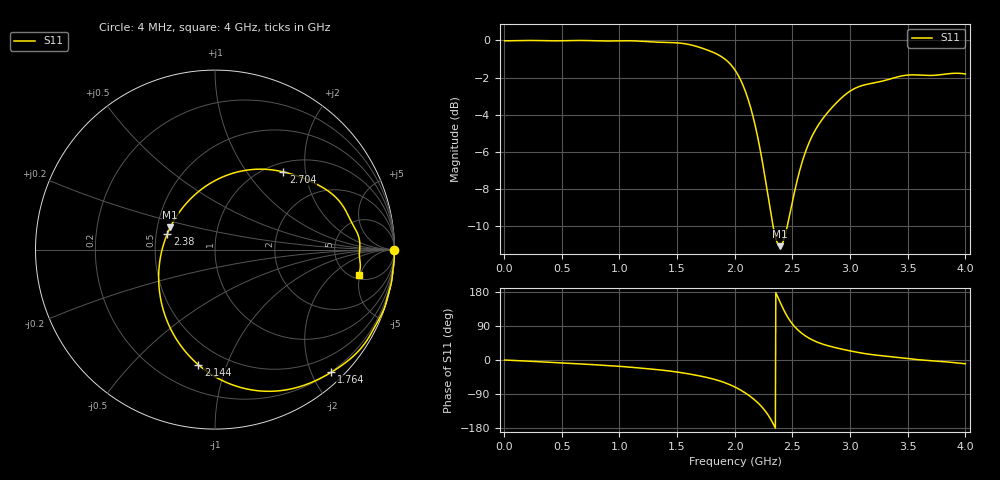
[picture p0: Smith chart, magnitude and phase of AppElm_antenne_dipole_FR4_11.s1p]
! TOUCHSTONE file generated by CST MICROWAVE STUDIO
! Date and time: Thu May 12 15:28:17 2022
! Project name: AppElm_antenne_dipole_FR4.cst
! Parameters = {L=38.8; e=0.035; f=2.45e+09; h=1.6; i=0.8; l1=5; lambda=122.449; ls=30; wl=1.7; ws=80}
! Header version: 2018
! Port assignment regex: !\s*Touchstone port\s*([0-9]+)\s*=\s*(CST MWS port|CST DS port)\s*([0-9]+|Zmin|Zmax)\s*\(\"(.*)\"\)(\s*mode\s*([0-9]+))?.*
! Touchstone port assignment:
! Touchstone port 1 = CST MWS port 1 ("")
# GHz S MA R 50
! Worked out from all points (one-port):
!   1000 points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, 4 MHz to 4 GHz, reference 50 ohm
!   lowest |S11| = -11.1 dB at 2.392 GHz (marker M1), VSWR 1.77, Z = 29.3 + j7.88 ohm
!   |S11| at or under -10 dB: 2.331 GHz to 2.456 GHz (124.7 MHz wide, 5.21 % of centre)
!   S11 on the Smith chart (normalised r, x): 4 MHz: open; 1.764 GHz: 0.19, -2.31; 2.144 GHz: 0.36, -0.80; 2.38 GHz: 0.57, +0.11; 2.704 GHz: 1.17, +1.52; 4 GHz: 5.71, -4.69
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0.004  0.9977 -0.1
0.504  0.998 -7.5
1.004  0.9976 -16.8
1.268  0.9916 -23.7
1.504  0.985 -31.9
1.636  0.9699 -38.5
1.764  0.9418 -46.5
1.892  0.9011 -57.5
1.948  0.8721 -64.0
2.004  0.83 -71.7
2.076  0.7507 -84.0
2.144  0.6477 -98.3
2.212  0.5234 -116.5
2.268  0.4166 -136.1
2.324  0.3256 -162.9
2.38  0.2798 161.6
2.392  0.2784 153.5
2.448  0.3082 118.8
2.504  0.3723 93.5
2.548  0.4273 79.1
2.592  0.4782 67.9
2.648  0.5331 56.9
2.704  0.577 48.6
2.832  0.6533 35.7
3.004  0.7312 23.8
3.152  0.762 15.8
3.504  0.8066 3.6
4  0.812 -9.9
